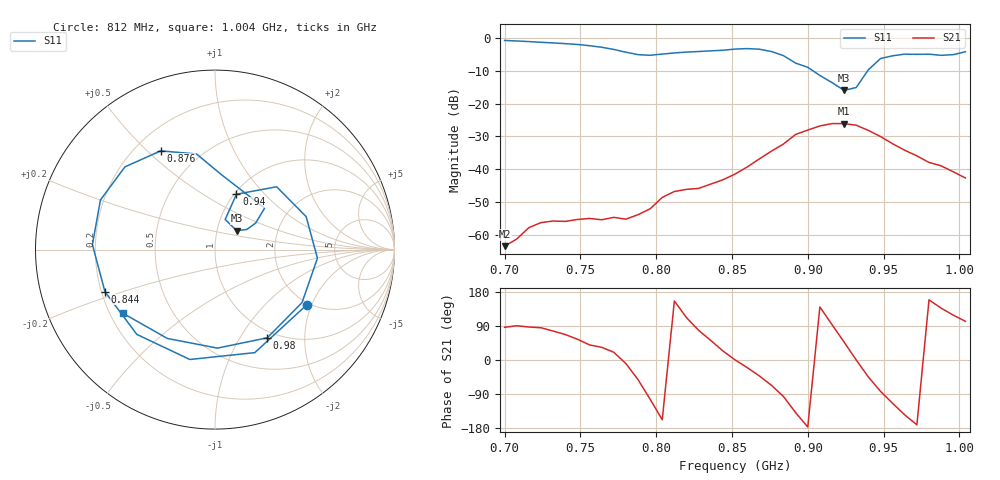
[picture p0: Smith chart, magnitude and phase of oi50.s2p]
# Hz S RI R 50
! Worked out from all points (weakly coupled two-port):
!   39 points, 700 MHz to 1.004 GHz, reference 50 ohm
!   highest |S21| = -26.06 dB at 924 MHz (marker M1); lowest = -63.5 dB at 700 MHz (marker M2)
!   lowest |S11| = -15.9 dB at 924 MHz (marker M3), VSWR 1.38, Z = 62.1 + j13.4 ohm
!   |S11| at or under -10 dB: 903.7 MHz to 939.4 MHz (35.77 MHz wide, 3.88 % of centre)
!   S12 and S22 are empty: the file has one direction only
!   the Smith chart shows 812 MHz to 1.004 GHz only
!   S11 on the Smith chart (normalised r, x): 812 MHz: 1.93, -1.85; 844 MHz: 0.21, -0.18; 876 MHz: 0.30, +0.55; 940 MHz: 1.02, +0.71; 980 MHz: 0.91, -1.32; 1.004 GHz: 0.25, -0.29
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7e8  0.7598 0.5296  4.3e-05 0.000666  0 0  0 0
7.24e8  0.8302 -0.2544  0.000132 0.00152  0 0  0 0
7.4e8  0.4451 -0.6982  0.000617 0.00147  0 0  0 0
7.56e8  -0.1968 -0.7454  0.00136 0.00114  0 0  0 0
7.72e8  -0.6494 -0.1849  0.00172 0.000645  0 0  0 0
7.8e8  -0.5664 0.2326  0.0017 -0.00028  0 0  0 0
7.88e8  -0.2069 0.5229  0.00126 -0.00158  0 0  0 0
7.96e8  0.264 0.4823  -0.000579 -0.00241  0 0  0 0
8.04e8  0.5608 0.1228  -0.00343 -0.00142  0 0  0 0
8.12e8  0.5115 -0.3073  -0.00417 0.00187  0 0  0 0
8.28e8  -0.1402 -0.6122  0.00103 0.00499  0 0  0 0
8.44e8  -0.6133 -0.2341  0.0063 0.0028  0 0  0 0
8.52e8  -0.683 0.0278  0.00842 7.03e-05  0 0  0 0
8.76e8  -0.303 0.5501  0.00749 -0.0173  0 0  0 0
9e8  0.2768 0.2312  -0.0396 -0.00226  0 0  0 0
9.08e8  0.2265 0.1478  -0.035 0.0295  0 0  0 0
9.24e8  0.1204 0.1052  0.0339 0.0365  0 0  0 0
9.4e8  0.1196 0.3085  0.0277 -0.0276  0 0  0 0
9.56e8  0.5079 0.1835  -0.0101 -0.0223  0 0  0 0
9.64e8  0.5707 -0.0479  -0.0159 -0.0112  0 0  0 0
9.8e8  0.291 -0.4916  -0.0118 0.00458  0 0  0 0
1.004e9  -0.5118 -0.3551  -0.00155 0.00719  0 0  0 0
